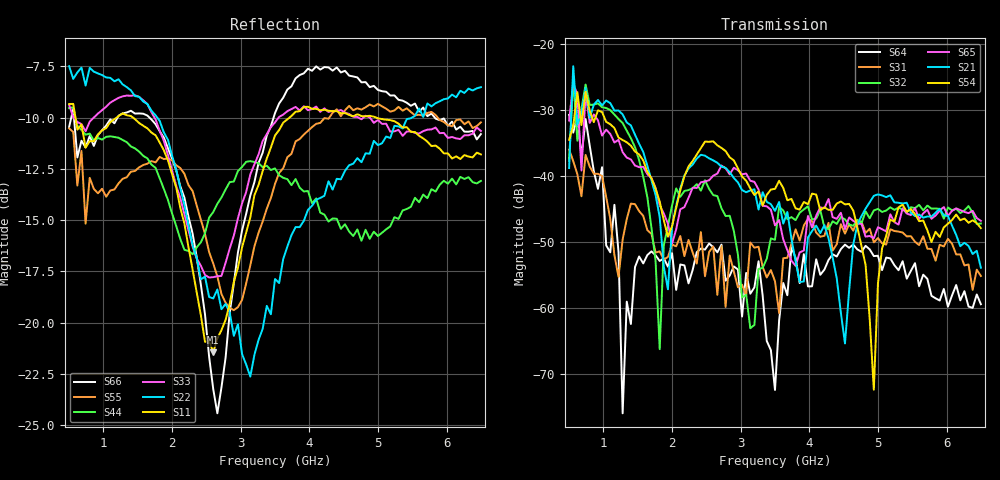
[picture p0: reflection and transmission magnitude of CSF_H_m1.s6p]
!Keysight Technologies,M9804A,MY58100912,A.14.10.03
!Date: Thursday, April 27, 2023 10:28:33
!Correction: S11(C  6-Port  )
!S12(C  6-Port  )
!S13(C  6-Port  )
!S14(C  6-Port  )
!S15(C  6-Port  )
!S16(C  6-Port  )
!S21(C  6-Port  )
!S22(C  6-Port  )
!S23(C  6-Port  )
!S24(C  6-Port  )
!S25(C  6-Port  )
!S26(C  6-Port  )
!S31(C  6-Port  )
!S32(C  6-Port  )
!S33(C  6-Port  )
!S34(C  6-Port  )
!S35(C  6-Port  )
!S36(C  6-Port  )
!S41(C  6-Port  )
!S42(C  6-Port  )
!S43(C  6-Port  )
!S44(C  6-Port  )
!S45(C  6-Port  )
!S46(C  6-Port  )
!S51(C  6-Port  )
!S52(C  6-Port  )
!S53(C  6-Port  )
!S54(C  6-Port  )
!S55(C  6-Port  )
!S56(C  6-Port  )
!S61(C  6-Port  )
!S62(C  6-Port  )
!S63(C  6-Port  )
!S64(C  6-Port  )
!S65(C  6-Port  )
!S66(C  6-Port  )
!S6P File: Measurement: :
# Hz S  RI  R 50
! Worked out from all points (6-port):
!   101 points, 500 MHz to 6.5 GHz, reference 50 ohm
!   strongest paths, dB at 500 MHz, 2 GHz, 3.5 GHz, 5 GHz, 6.5 GHz:
!     S54: -34.5, -47.6, -41.9, -56.3, -47.9
!     S21: -38.8, -47.6, -45.3, -42.8, -53.9
!     S65: -31.6, -50.2, -47.5, -47.8, -46.8
!     S32: -37.7, -44.4, -49.7, -45.0, -47.2
!     S31: -36.0, -50.4, -56.0, -49.4, -55.1
!     S64: -30.7, -51.7, -72.4, -52.1, -59.4
!   lowest |S11| = -21.4 dB at 2.6 GHz (marker M1), VSWR 1.18, Z = 42.5 + j2.12 ohm
!   |S11| at or under -10 dB: 591.7 MHz to 1.193 GHz (600.9 MHz wide, 67.3 % of centre); 1.428 GHz to 3.712 GHz (2.284 GHz wide, 88.9 % of centre); 4.971 GHz to end of sweep
